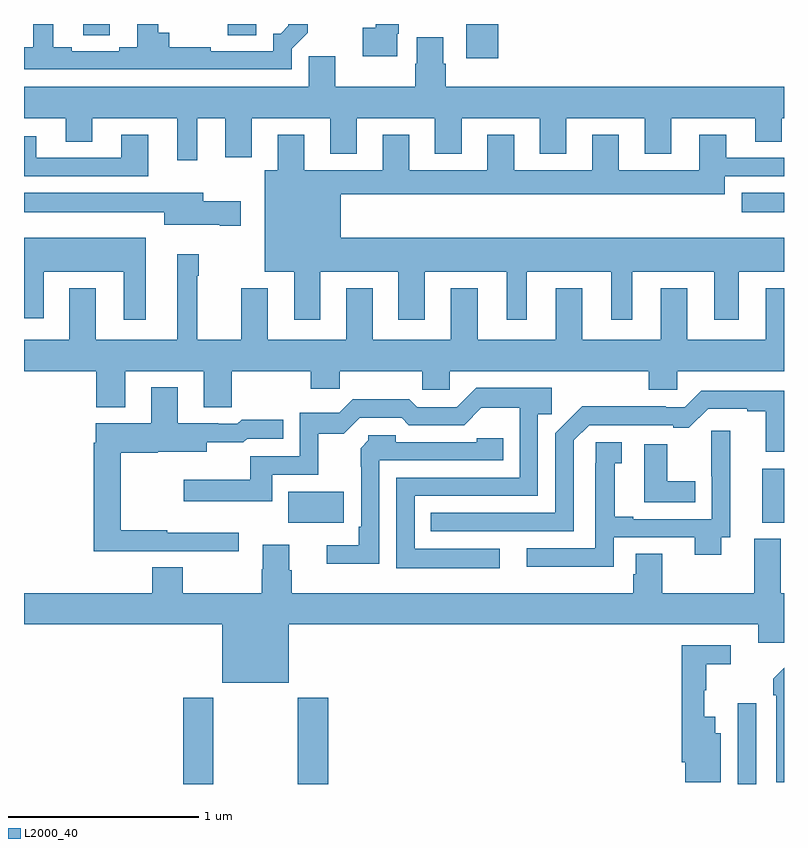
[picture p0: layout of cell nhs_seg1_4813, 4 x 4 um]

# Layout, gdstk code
import gdstk
lib = gdstk.Library(unit=1e-6, precision=1e-09)
def R(c, l, rs):  # rectangles x0, y0, x1, y1
    for r in rs: c.add(gdstk.rectangle(r[:2], r[2:], *l))
def P(c, l, *ps):  # polygons
    for p in ps: c.add(gdstk.Polygon(p, *l))
L2000_40 = (2000, 40)

nhs_seg1_4813 = lib.new_cell('nhs_seg1_4813')
R(nhs_seg1_4813, L2000_40, [(371.837,576.199,371.997,576.652), (372.442,576.199,372.602,576.652), (374.757,576.199,374.853,576.625), (372.391,577.574,372.684,577.738), (374.885,577.574,375,577.858), (374.778,579.209,375,579.31), (373.328,580.02,373.496,580.199), (371.312,580.141,371.452,580.199), (372.073,580.141,372.223,580.199)])
P(nhs_seg1_4813, L2000_40, [(372.964,580.149),(372.972,580.149),(372.972,580.199),(372.851,580.199),(372.851,580.18),(372.783,580.18),(372.783,580.028),(372.964,580.028)],
  [(372.408,580.068),(372.494,580.154),(372.494,580.199),(372.392,580.199),(372.392,580.19),(372.351,580.149),(372.312,580.149),(372.312,580.056),(371.984,580.056),(371.984,580.076),(371.764,580.076),(371.764,580.153),(371.707,580.153),(371.707,580.199),(371.597,580.199),(371.597,580.076),(371.501,580.076),(371.501,580.056),(371.251,580.056),(371.251,580.076),(371.155,580.076),(371.155,580.199),(371.048,580.199),(371.048,580.076),(371,580.076),(371,579.96),(372.408,579.96)],
  [(371.911,579.704),(372.059,579.704),(372.059,579.498),(372.199,579.498),(372.199,579.704),(372.611,579.704),(372.611,579.515),(372.751,579.515),(372.751,579.704),(373.163,579.704),(373.163,579.515),(373.303,579.515),(373.303,579.704),(373.715,579.704),(373.715,579.515),(373.855,579.515),(373.855,579.704),(374.267,579.704),(374.267,579.515),(374.407,579.515),(374.407,579.704),(374.849,579.704),(374.849,579.58),(374.989,579.58),(374.989,579.704),(375,579.704),(375,579.868),(373.22,579.868),(373.22,579.99),(373.207,579.99),(373.207,580.129),(373.067,580.129),(373.067,579.99),(373.06,579.99),(373.06,579.868),(372.637,579.868),(372.637,580.03),(372.498,580.03),(372.498,579.868),(371,579.868),(371,579.704),(371.219,579.704),(371.219,579.58),(371.359,579.58),(371.359,579.704),(371.807,579.704),(371.807,579.483),(371.911,579.483)],
  [(372.559,578.894),(372.971,578.894),(372.971,578.643),(373.108,578.643),(373.108,578.894),(373.541,578.894),(373.541,578.643),(373.645,578.643),(373.645,578.894),(374.09,578.894),(374.09,578.643),(374.2,578.643),(374.2,578.894),(374.633,578.894),(374.633,578.643),(374.761,578.643),(374.761,578.894),(375,578.894),(375,579.073),(372.667,579.073),(372.667,579.302),(374.689,579.302),(374.689,579.399),(375,579.399),(375,579.495),(374.695,579.495),(374.695,579.616),(374.555,579.616),(374.555,579.43),(374.131,579.43),(374.131,579.616),(373.991,579.616),(373.991,579.43),(373.579,579.43),(373.579,579.616),(373.439,579.616),(373.439,579.43),(373.027,579.43),(373.027,579.616),(372.887,579.616),(372.887,579.43),(372.475,579.43),(372.475,579.616),(372.335,579.616),(372.335,579.43),(372.266,579.43),(372.266,578.894),(372.422,578.894),(372.422,578.643),(372.559,578.643)],
  [(371.653,579.616),(371.513,579.616),(371.513,579.495),(371.065,579.495),(371.065,579.607),(371,579.607),(371,579.399),(371.653,579.399)],
  [(372.142,579.265),(371.944,579.265),(371.944,579.31),(371,579.31),(371,579.209),(371.738,579.209),(371.738,579.143),(372.029,579.143),(372.029,579.136),(372.142,579.136)],
  [(371.641,579.073),(371,579.073),(371,578.651),(371.104,578.651),(371.104,578.894),(371.525,578.894),(371.525,578.643),(371.641,578.643)],
  [(372.093,578.372),(372.508,578.372),(372.508,578.279),(372.662,578.279),(372.662,578.372),(373.097,578.372),(373.097,578.274),(373.242,578.274),(373.242,578.372),(374.288,578.372),(374.288,578.274),(374.439,578.274),(374.439,578.372),(375,578.372),(375,578.809),(374.903,578.809),(374.903,578.536),(374.491,578.536),(374.491,578.809),(374.351,578.809),(374.351,578.536),(373.939,578.536),(373.939,578.809),(373.799,578.809),(373.799,578.536),(373.387,578.536),(373.387,578.809),(373.247,578.809),(373.247,578.536),(372.835,578.536),(372.835,578.809),(372.695,578.809),(372.695,578.536),(372.283,578.536),(372.283,578.809),(372.143,578.809),(372.143,578.536),(371.911,578.536),(371.911,578.873),(371.921,578.873),(371.921,578.986),(371.807,578.986),(371.807,578.536),(371.377,578.536),(371.377,578.809),(371.237,578.809),(371.237,578.536),(371,578.536),(371,578.372),(371.381,578.372),(371.381,578.183),(371.533,578.183),(371.533,578.372),(371.945,578.372),(371.945,578.182),(372.093,578.182)],
  [(371.591,577.425),(372.13,577.425),(372.13,577.522),(371.753,577.522),(371.753,577.534),(371.508,577.534),(371.508,577.942),(371.705,577.942),(371.705,577.949),(371.962,577.949),(371.962,577.997),(372.155,577.997),(372.174,578.016),(372.365,578.016),(372.365,578.117),(372.146,578.117),(372.123,578.094),(372.023,578.094),(372.023,578.097),(371.809,578.097),(371.809,578.287),(371.669,578.287),(371.669,578.098),(371.378,578.098),(371.378,577.994),(371.366,577.994),(371.366,577.423),(371.591,577.423)],
  [(373.504,577.438),(373.056,577.438),(373.056,577.716),(373.704,577.716),(373.704,578.146),(373.778,578.146),(373.778,578.284),(373.38,578.284),(373.277,578.181),(373.071,578.181),(373.028,578.224),(372.73,578.224),(372.658,578.152),(372.45,578.152),(372.45,577.923),(372.19,577.923),(372.19,577.801),(371.841,577.801),(371.841,577.688),(372.306,577.688),(372.306,577.827),(372.549,577.827),(372.549,578.043),(372.684,578.043),(372.768,578.127),(372.987,578.127),(373.026,578.088),(373.317,578.088),(373.407,578.178),(373.608,578.178),(373.608,577.812),(372.96,577.812),(372.96,577.334),(373.504,577.334)],
  [(373.893,578.007),(373.974,578.088),(374.417,578.088),(374.417,578.073),(374.499,578.073),(374.6,578.174),(374.807,578.174),(374.807,578.16),(374.903,578.16),(374.903,577.947),(375,577.947),(375,578.268),(374.565,578.268),(374.478,578.181),(374.378,578.181),(374.378,578.186),(373.938,578.186),(373.797,578.044),(373.797,577.626),(373.141,577.626),(373.141,577.53),(373.893,577.53)],
  [(374.103,577.497),(374.531,577.497),(374.531,577.406),(374.671,577.406),(374.671,577.497),(374.716,577.497),(374.716,578.059),(374.617,578.059),(374.617,577.818),(374.619,577.818),(374.619,577.593),(374.206,577.593),(374.206,577.606),(374.11,577.606),(374.11,577.886),(374.146,577.886),(374.146,577.999),(374.008,577.999),(374.008,577.886),(374.006,577.886),(374.006,577.44),(373.647,577.44),(373.647,577.343),(374.103,577.343)],
  [(372.87,577.902),(373.523,577.902),(373.523,578.019),(373.383,578.019),(373.383,577.998),(372.956,577.998),(372.956,578.034),(372.813,578.034),(372.813,578.008),(372.772,577.967),(372.772,577.868),(372.774,577.868),(372.774,577.552),(372.762,577.552),(372.762,577.455),(372.594,577.455),(372.594,577.358),(372.87,577.358)],
  [(374.534,577.792),(374.386,577.792),(374.386,577.987),(374.264,577.987),(374.264,577.683),(374.534,577.683)],
  [(372.394,577.04),(374.864,577.04),(374.864,576.942),(375,576.942),(375,577.204),(374.983,577.204),(374.983,577.489),(374.843,577.489),(374.843,577.204),(374.359,577.204),(374.359,577.412),(374.219,577.412),(374.219,577.302),(374.207,577.302),(374.207,577.204),(372.41,577.204),(372.41,577.323),(372.397,577.323),(372.397,577.459),(372.257,577.459),(372.257,577.328),(372.25,577.328),(372.25,577.204),(371.835,577.204),(371.835,577.34),(371.675,577.34),(371.675,577.204),(371,577.204),(371,577.04),(372.044,577.04),(372.044,576.731),(372.394,576.731)],
  [(374.668,576.466),(374.638,576.466),(374.638,576.553),(374.579,576.553),(374.579,576.693),(374.59,576.693),(374.59,576.829),(374.719,576.829),(374.719,576.93),(374.461,576.93),(374.461,576.313),(374.48,576.313),(374.48,576.209),(374.668,576.209)],
  [(375,576.81),(374.943,576.753),(374.943,576.665),(374.958,576.665),(374.958,576.207),(375,576.207)])

lib.write_gds('nhs_seg1_4813.gds')
